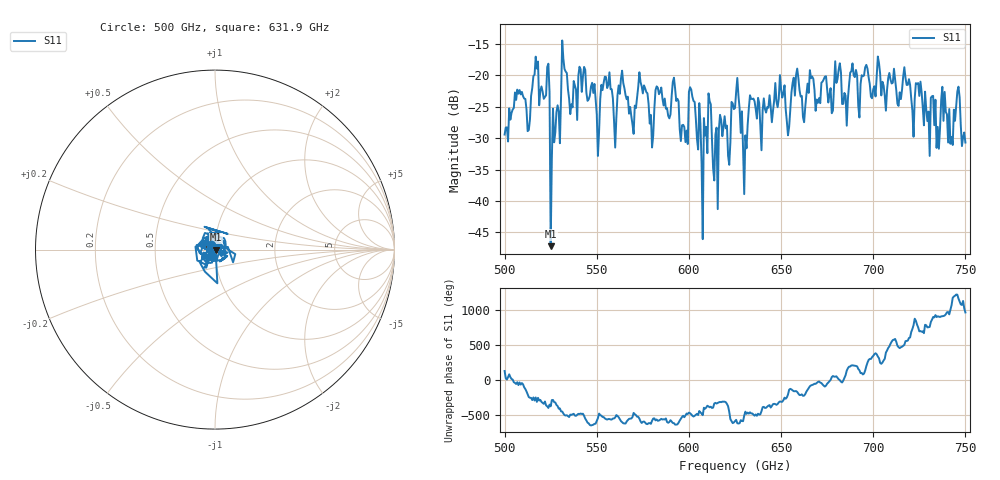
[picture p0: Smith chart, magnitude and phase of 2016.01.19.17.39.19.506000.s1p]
!Created with skrf (http://scikit-rf.org).
# GHz S RI R 50.0
!freq ReS11 ImS11
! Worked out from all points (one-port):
!   401 points, 500 GHz to 750 GHz, reference 50 ohm
!   lowest |S11| = -47.2 dB at 525 GHz (marker M1), VSWR 1.01, Z = 50.4 - j0.093 ohm
!   |S11| at or under -10 dB: start of sweep to end of sweep
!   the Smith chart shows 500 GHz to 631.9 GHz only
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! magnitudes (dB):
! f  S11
! 500 GHz  -29.4
! 506.9 GHz  -22.3
! 513.1 GHz  -28.7
! 516.9 GHz  -17.1
! 523.1 GHz  -18.7
! 525 GHz  -47.2
! 526.2 GHz  -25.3
! 531.2 GHz  -14.5
! 542.5 GHz  -20.2
! 550.6 GHz  -32.8
! 562.5 GHz  -23.0
! 580 GHz  -31.5
! 583.1 GHz  -22.0
! 593.8 GHz  -23.8
! 598.1 GHz  -30.6
! 601.9 GHz  -23.5
! 606.2 GHz  -27.8
! 610.6 GHz  -22.9
! 614.4 GHz  -29.5
! 625 GHz  -25.2
! 630.6 GHz  -29.6
! 633.8 GHz  -23.8
! 656.2 GHz  -21.2
! 687.5 GHz  -19.6
! 718.8 GHz  -21.6
! 741.9 GHz  -30.9
! 746.2 GHz  -21.8
! 750 GHz  -30.7
